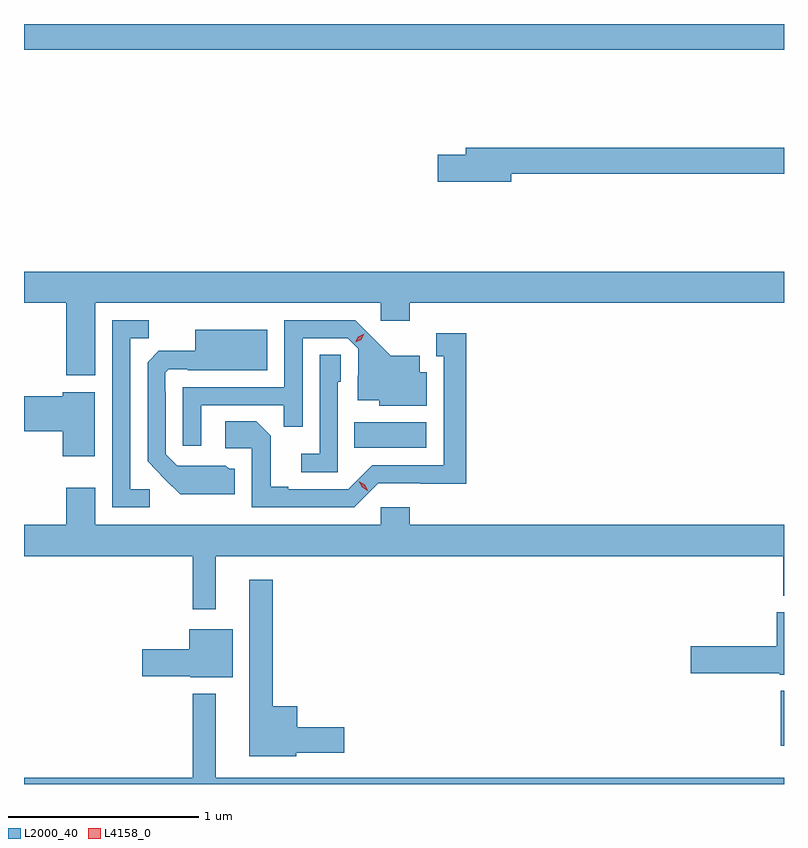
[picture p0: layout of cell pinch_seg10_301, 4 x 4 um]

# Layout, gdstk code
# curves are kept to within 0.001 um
import gdstk
lib = gdstk.Library(unit=1e-6, precision=1e-09)
def R(c, l, rs):  # rectangles x0, y0, x1, y1
    for r in rs: c.add(gdstk.rectangle(r[:2], r[2:], *l))
def P(c, l, *ps):  # polygons
    for p in ps: c.add(gdstk.Polygon(p, *l))
L2000_40 = (2000, 40)
L4158_0 = (4158, 0)

pinch_seg10_301 = lib.new_cell('pinch_seg10_301')
R(pinch_seg10_301, L2000_40, [(402.461,1289.994,402.479,1290.283), (400.216,1291.562,400.597,1291.696), (398.479,1293.656,402.479,1293.792)])
P(pinch_seg10_301, L2000_40, [(401.044,1293.004),(402.479,1293.004),(402.479,1293.14),(400.805,1293.14),(400.805,1293.104),(400.656,1293.104),(400.656,1292.962),(401.044,1292.962)],
  [(398.854,1292.324),(400.356,1292.324),(400.356,1292.229),(400.508,1292.229),(400.508,1292.324),(402.479,1292.324),(402.479,1292.488),(398.479,1292.488),(398.479,1292.324),(398.702,1292.324),(398.702,1291.944),(398.854,1291.944)],
  [(399.411,1291.785),(399.847,1291.785),(399.847,1291.672),(399.945,1291.672),(399.945,1292.139),(400.182,1292.139),(400.239,1292.082),(400.239,1291.94),(400.235,1291.94),(400.235,1291.811),(400.35,1291.811),(400.35,1291.784),(400.6,1291.784),(400.6,1291.96),(400.561,1291.96),(400.561,1292.047),(400.409,1292.047),(400.222,1292.232),(399.849,1292.232),(399.849,1291.881),(399.315,1291.881),(399.315,1291.572),(399.411,1291.572)],
  [(399.142,1291.344),(399.039,1291.344),(399.039,1292.137),(399.135,1292.137),(399.135,1292.232),(398.943,1292.232),(398.943,1291.248),(399.142,1291.248)],
  [(399.589,1291.452),(399.558,1291.452),(399.542,1291.468),(399.285,1291.467),(399.225,1291.527),(399.225,1291.856),(399.222,1291.856),(399.222,1291.956),(399.24,1291.974),(399.34,1291.974),(399.34,1291.97),(399.76,1291.97),(399.76,1292.182),(399.38,1292.182),(399.38,1292.071),(399.188,1292.071),(399.129,1292.012),(399.129,1291.49),(399.301,1291.316),(399.589,1291.316)],
  [(400.344,1291.374),(400.807,1291.373),(400.807,1292.164),(400.649,1292.164),(400.649,1292.043),(400.688,1292.043),(400.688,1291.47),(400.311,1291.47),(400.185,1291.344),(399.871,1291.344),(399.871,1291.357),(399.777,1291.357),(399.777,1291.624),(399.701,1291.7),(399.537,1291.7),(399.537,1291.56),(399.678,1291.56),(399.678,1291.248),(400.218,1291.248)],
  [(400.131,1291.908),(400.146,1291.908),(400.146,1292.051),(400.035,1292.051),(400.035,1291.531),(399.939,1291.531),(399.939,1291.434),(400.131,1291.434)],
  [(398.851,1291.855),(398.684,1291.855),(398.684,1291.832),(398.479,1291.832),(398.479,1291.649),(398.684,1291.649),(398.684,1291.518),(398.851,1291.518)],
  [(399.487,1290.992),(402.475,1290.992),(402.475,1290.782),(402.479,1290.782),(402.479,1291.156),(400.508,1291.156),(400.508,1291.249),(400.356,1291.249),(400.356,1291.156),(398.854,1291.156),(398.854,1291.351),(398.702,1291.351),(398.702,1291.156),(398.479,1291.156),(398.479,1290.992),(399.366,1290.992),(399.366,1290.711),(399.487,1290.711)],
  [(399.912,1289.957),(400.165,1289.957),(400.165,1290.092),(399.916,1290.092),(399.916,1290.202),(399.787,1290.202),(399.787,1290.868),(399.665,1290.868),(399.665,1289.939),(399.912,1289.939)],
  [(402.479,1290.697),(402.44,1290.697),(402.44,1290.516),(401.988,1290.516),(401.988,1290.374),(402.456,1290.374),(402.456,1290.368),(402.479,1290.368)],
  [(399.577,1290.607),(399.35,1290.607),(399.35,1290.501),(399.102,1290.501),(399.102,1290.359),(399.354,1290.359),(399.354,1290.353),(399.577,1290.353)],
  [(402.479,1289.824),(399.487,1289.824),(399.487,1290.268),(399.366,1290.268),(399.366,1289.824),(398.479,1289.824),(398.479,1289.792),(402.479,1289.792)])
P(pinch_seg10_301, L4158_0, [(400.29,1291.334),(400.258,1291.354),(400.241,1291.386),(400.241,1291.386),(400.241,1291.386),(400.273,1291.367),(400.29,1291.334),(400.29,1291.334)],
  [(400.222,1292.116),(400.222,1292.116),(400.239,1292.146),(400.27,1292.161),(400.27,1292.161),(400.27,1292.161),(400.253,1292.131),(400.222,1292.116)])

lib.write_gds('pinch_seg10_301.gds')
